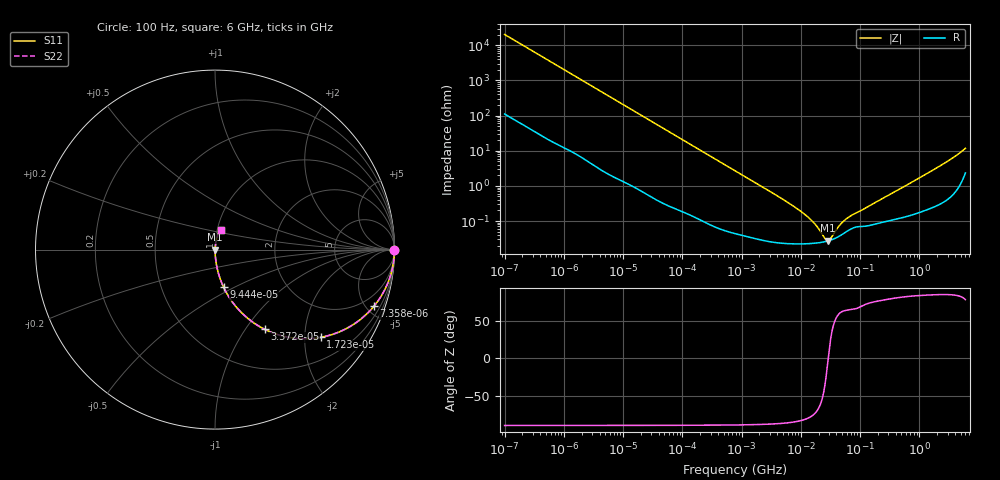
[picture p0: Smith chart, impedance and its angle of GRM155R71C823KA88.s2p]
!Murata Part Number: GRM155R71C823KA88
!These Parameters are Measured in Series Mode Connection
!Data Generated on Mar 30, 2021
!  o--ll--o
!Port1  Port2
!  o------o
!Operation Temp=25[degC], DC Bias Voltage=0[V]
!Freq. Start=100[Hz] Stop=6[GHz] 401[Steps]
# Hz S RI R 50
!Freq.(Hz) S11(Real) S11(Imag) S21(Real) S21(Imag) S12(Real) S12(Imag) S22(Real) S22(Imag)
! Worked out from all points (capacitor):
!   401 points, 100 Hz to 6 GHz, reference 50 ohm
!   read as one part in series: C = 78.3 nF near 109 Hz
!   lowest |Z| = 27.4 mohm at 29.12 MHz (marker M1)
!   series resonance near 28.97 MHz, so ESL is about 390 pH
!   S11 on the Smith chart (normalised r, x): 100 Hz: open; 7.358 kHz: 1.03, -5.60; 17.23 kHz: 1.02, -2.40; 33.72 kHz: 1.01, -1.23; 94.44 kHz: 1.00, -0.44; 6 GHz: 1.05, +0.23
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100  0.9999 -0.00493  5.13e-05 0.00493  5.13e-05 0.00493  0.9999 -0.00493
627  0.9989 -0.0307  0.00111 0.0307  0.00111 0.0307  0.9989 -0.0307
2008  0.9899 -0.0968  0.0101 0.0968  0.0101 0.0968  0.9899 -0.0968
4299  0.9571 -0.1997  0.0429 0.1997  0.0429 0.1997  0.9571 -0.1997
7358  0.8855 -0.3154  0.1145 0.3154  0.1145 0.3154  0.8855 -0.3154
11009  0.7771 -0.4129  0.2229 0.4129  0.2229 0.4129  0.7771 -0.4129
17227  0.59 -0.4884  0.41 0.4884  0.41 0.4884  0.59 -0.4884
33721  0.2761 -0.4436  0.7239 0.4436  0.7239 0.4436  0.2761 -0.4436
40335  0.2112 -0.4046  0.7888 0.4046  0.7888 0.4046  0.2112 -0.4046
94437  0.0481 -0.2096  0.9519 0.2096  0.9519 0.2096  0.0481 -0.2096
231233  0.00907 -0.0897  0.9909 0.0897  0.9909 0.0897  0.00907 -0.0897
774597  0.00118 -0.0271  0.9988 0.0271  0.9988 0.0271  0.00118 -0.0271
6644369  0.000235 -0.00304  0.9998 0.00304  0.9998 0.00304  0.000235 -0.00304
1.555665e7  0.000231 -0.000973  0.9998 0.000973  0.9998 0.000973  0.000231 -0.000973
2.545746e7  0.000259 -0.00019  0.9997 0.00019  0.9997 0.00019  0.000259 -0.00019
2.911731e7  0.000274 7.4e-06  0.9997 -7.4e-06  0.9997 -7.4e-06  0.000274 7.4e-06
3.184506e7  0.000287 0.000138  0.9997 -0.000138  0.9997 -0.000138  0.000287 0.000138
4.556224e7  0.000379 0.000671  0.9996 -0.000671  0.9996 -0.000671  0.000379 0.000671
5.960426e7  0.000509 0.00106  0.9995 -0.00106  0.9995 -0.00106  0.000509 0.00106
3.124326e8  0.00105 0.00548  0.9989 -0.00548  0.9989 -0.00548  0.00105 0.00548
2.240541e9  0.00436 0.0367  0.9956 -0.0367  0.9956 -0.0367  0.00436 0.0367
6e9  0.035 0.1086  0.965 -0.1086  0.965 -0.1086  0.035 0.1086
